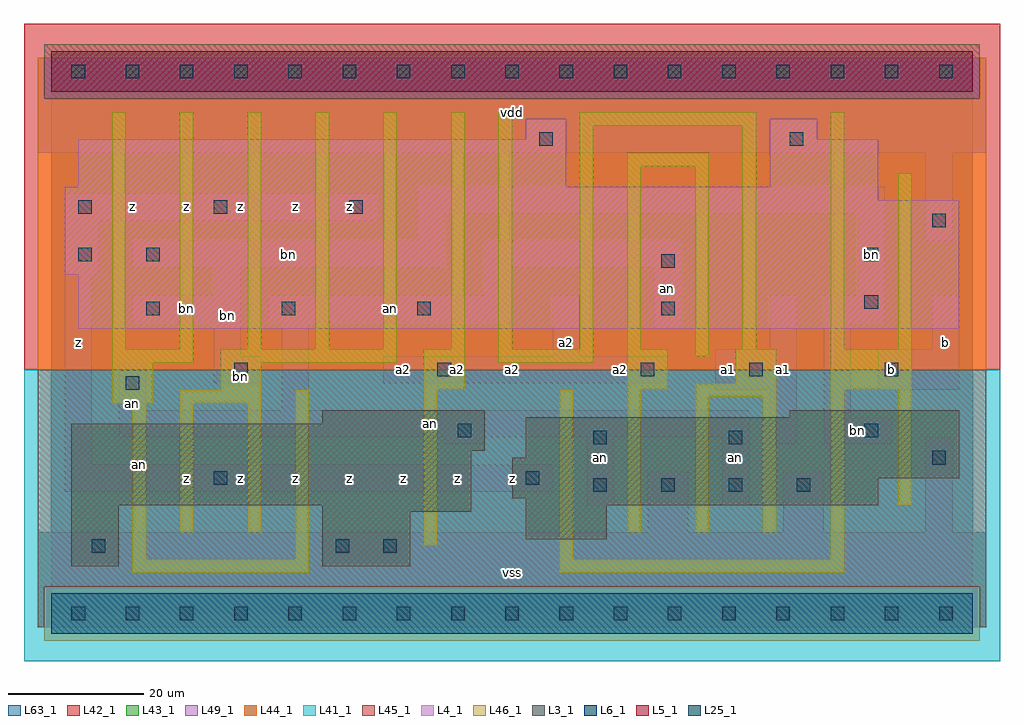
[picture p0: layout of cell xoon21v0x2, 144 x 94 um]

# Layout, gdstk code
import gdstk
lib = gdstk.Library(unit=1e-6, precision=1e-09)
def R(c, l, rs):  # rectangles x0, y0, x1, y1
    for r in rs: c.add(gdstk.rectangle(r[:2], r[2:], *l))
def A(c, l, x, y, w, h, nx, ny, dx, dy):  # array of equal rectangles
    R(c, l, [(x+i*dx, y+j*dy, x+i*dx+w, y+j*dy+h) for i in range(nx) for j in range(ny)])
L3_1 = (3, 1)
L4_1 = (4, 1)
L5_1 = (5, 1)
L6_1 = (6, 1)
L25_1 = (25, 1)
L41_1 = (41, 1)
L42_1 = (42, 1)
L43_1 = (43, 1)
L44_1 = (44, 1)
L45_1 = (45, 1)
L46_1 = (46, 1)
L49_1 = (49, 1)
L63_1 = (63, 1)

xoon21v0x2 = lib.new_cell('xoon21v0x2')
R(xoon21v0x2, L3_1, [(3,7,10,16), (40,7,53,15), (70,11,82,16), (40,15,62,16), (3,16,62,24), (70,16,122,17), (68,17,122,20), (68,20,134,23), (70,23,134,29), (3,24,64,28), (40,28,64,30), (109,29,134,30)])
R(xoon21v0x2, L4_1, [(4,42,134,50), (2,50,134,61), (2,61,122,63), (4,63,76,70), (106,63,122,70), (70,70,76,73), (106,70,113,73)])
R(xoon21v0x2, L5_1, [(0,77,136,83)])
R(xoon21v0x2, L6_1, [(0,-3,136,3), (0,-3,136,3)])
A(xoon21v0x2, L25_1, 3, -1, 2, 2, 17, 2, 8, 80)
A(xoon21v0x2, L25_1, 80, 18, 2, 2, 4, 1, 10, 0)
A(xoon21v0x2, L25_1, 27, 35, 2, 2, 3, 1, 30, 0)
A(xoon21v0x2, L25_1, 14, 44, 2, 2, 3, 1, 20, 0)
A(xoon21v0x2, L25_1, 4, 59, 2, 2, 3, 1, 20, 0)
R(xoon21v0x2, L25_1, [(6,9,8,11), (42,9,44,11), (49,9,51,11), (24,19,26,21), (70,19,72,21), (130,22,132,24), (80,25,82,27), (100,25,102,27), (60,26,62,28), (120,26,122,28), (11,33,13,35), (103,35,105,37), (123,35,125,37), (90,44,92,46), (120,45,122,47), (90,51,92,53), (4,52,6,54), (14,52,16,54), (120,52,122,54), (130,57,132,59), (72,69,74,71), (109,69,111,71)])
R(xoon21v0x2, L41_1, [(-4,-7,140,36)])
R(xoon21v0x2, L42_1, [(-4,36,140,87)])
R(xoon21v0x2, L43_1, [(0,-3,136,3), (3,7,10,16), (40,7,53,15), (70,11,82,16), (40,15,62,16), (3,16,62,24), (70,16,122,17), (68,17,122,20), (68,20,134,23), (70,23,134,29), (3,24,64,28), (40,28,64,30), (109,29,134,30), (4,42,134,50), (2,50,134,61), (2,61,122,63), (4,63,76,70), (106,63,122,70), (70,70,76,73), (106,70,113,73), (0,77,136,83)])
R(xoon21v0x2, L44_1, [(-1,-4,137,4), (-2,36,138,76), (-2,76,-1,82), (137,76,138,82)])
R(xoon21v0x2, L45_1, [(-2,-2,-1,4), (137,-2,138,4), (-2,4,138,36), (-1,76,137,84)])
A(xoon21v0x2, L46_1, 9, 39, 2, 35, 6, 1, 10, 0)
R(xoon21v0x2, L46_1, [(12,6,38,8), (75,6,117,8), (12,8,14,31), (36,8,38,33), (75,8,77,33), (115,8,117,33), (55,10,57,33), (19,12,21,31), (29,12,31,31), (85,12,87,33), (95,12,97,32), (105,12,107,32), (125,16,127,33), (9,31,15,37), (19,31,31,33), (95,32,107,34), (25,33,31,37), (55,33,61,39), (85,33,91,39), (115,33,127,39), (101,34,107,39), (9,37,21,39), (25,37,51,39), (66,37,80,39), (95,38,97,66), (66,39,68,74), (78,39,80,72), (85,39,87,66), (102,39,104,72), (115,39,117,74), (125,39,127,65), (85,66,97,68), (78,72,104,74)])
R(xoon21v0x2, L49_1, [(-2,-2,138,12), (88,12,94,21), (108,12,114,21), (129,12,133,26), (79,16,83,26), (99,16,103,26), (2,18,74,22), (2,22,6,50), (58,25,64,26), (106,25,110,33), (114,25,124,29), (10,26,103,30), (114,29,118,43), (10,30,14,37), (34,30,38,43), (98,33,110,39), (122,33,134,39), (24,34,31,38), (49,34,91,38), (24,38,28,43), (74,38,78,47), (106,39,110,47), (130,39,134,47), (89,42,93,51), (12,43,28,47), (32,43,68,47), (114,43,123,47), (24,47,28,51), (64,47,68,51), (119,47,123,59), (2,50,7,58), (12,51,58,55), (64,51,93,55), (54,55,58,59), (129,55,133,68), (2,58,48,62), (54,59,123,63), (-2,68,138,82)])
R(xoon21v0x2, L63_1, [(0,0,136,80)])
xoon21v0x2.add(gdstk.Label('an', (13,22), layer=46, texttype=1))
xoon21v0x2.add(gdstk.Label('bn', (28,35), layer=49, texttype=1))
xoon21v0x2.add(gdstk.Label('z', (12,20), layer=49, texttype=1))
xoon21v0x2.add(gdstk.Label('z', (20,20), layer=49, texttype=1))
xoon21v0x2.add(gdstk.Label('an', (12,31), layer=49, texttype=1))
xoon21v0x2.add(gdstk.Label('z', (4,40), layer=49, texttype=1))
xoon21v0x2.add(gdstk.Label('z', (12,60), layer=49, texttype=1))
xoon21v0x2.add(gdstk.Label('z', (20,60), layer=49, texttype=1))
xoon21v0x2.add(gdstk.Label('z', (28,20), layer=49, texttype=1))
xoon21v0x2.add(gdstk.Label('z', (36,20), layer=49, texttype=1))
xoon21v0x2.add(gdstk.Label('z', (44,20), layer=49, texttype=1))
xoon21v0x2.add(gdstk.Label('bn', (20,45), layer=49, texttype=1))
xoon21v0x2.add(gdstk.Label('bn', (26,44), layer=49, texttype=1))
xoon21v0x2.add(gdstk.Label('z', (28,60), layer=49, texttype=1))
xoon21v0x2.add(gdstk.Label('z', (36,60), layer=49, texttype=1))
xoon21v0x2.add(gdstk.Label('z', (44,60), layer=49, texttype=1))
xoon21v0x2.add(gdstk.Label('vss', (68,6), layer=49, texttype=1))
xoon21v0x2.add(gdstk.Label('z', (52,20), layer=49, texttype=1))
xoon21v0x2.add(gdstk.Label('z', (60,20), layer=49, texttype=1))
xoon21v0x2.add(gdstk.Label('z', (68,20), layer=49, texttype=1))
xoon21v0x2.add(gdstk.Label('a2', (52,36), layer=49, texttype=1))
xoon21v0x2.add(gdstk.Label('an', (50,45), layer=49, texttype=1))
xoon21v0x2.add(gdstk.Label('a2', (60,36), layer=49, texttype=1))
xoon21v0x2.add(gdstk.Label('a2', (68,36), layer=49, texttype=1))
xoon21v0x2.add(gdstk.Label('a2', (76,40), layer=49, texttype=1))
xoon21v0x2.add(gdstk.Label('bn', (35,53), layer=49, texttype=1))
xoon21v0x2.add(gdstk.Label('vdd', (68,74), layer=49, texttype=1))
xoon21v0x2.add(gdstk.Label('an', (101,23), layer=49, texttype=1))
xoon21v0x2.add(gdstk.Label('an', (81,23), layer=49, texttype=1))
xoon21v0x2.add(gdstk.Label('an', (56,28), layer=49, texttype=1))
xoon21v0x2.add(gdstk.Label('a2', (84,36), layer=49, texttype=1))
xoon21v0x2.add(gdstk.Label('a1', (100,36), layer=49, texttype=1))
xoon21v0x2.add(gdstk.Label('a1', (108,36), layer=49, texttype=1))
xoon21v0x2.add(gdstk.Label('an', (91,48), layer=49, texttype=1))
xoon21v0x2.add(gdstk.Label('bn', (119,27), layer=49, texttype=1))
xoon21v0x2.add(gdstk.Label('b', (124,36), layer=49, texttype=1))
xoon21v0x2.add(gdstk.Label('b', (132,40), layer=49, texttype=1))
xoon21v0x2.add(gdstk.Label('bn', (121,53), layer=49, texttype=1))

lib.write_gds('xoon21v0x2.gds')
